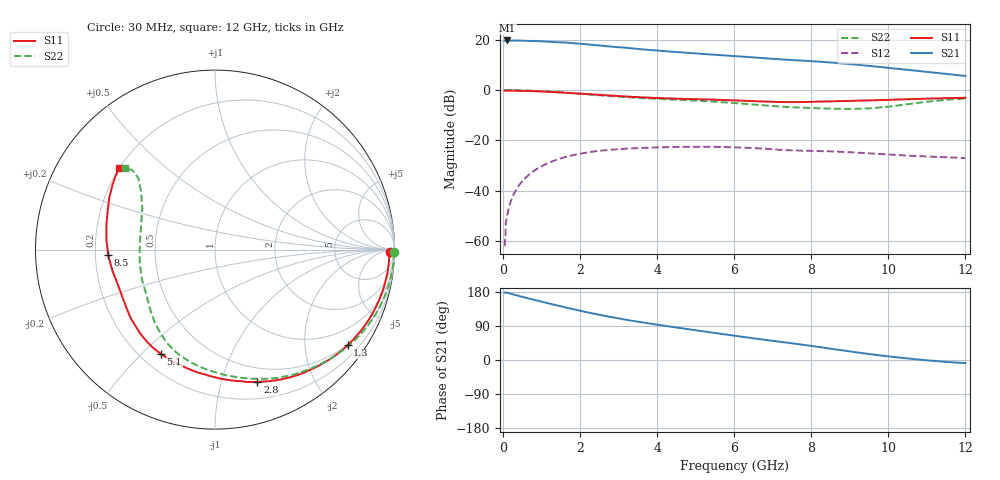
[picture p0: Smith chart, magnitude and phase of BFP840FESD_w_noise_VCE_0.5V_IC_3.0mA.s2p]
! Infineon Technologies  Discrete & RF Semiconductors
! BFP840FESD
! VCE =  0.5 V,  IC =  3.0 mA
! Common Emitter S-Parameters:  May 2012
# GHz  S  MA  R  50
!  f  S11  S21  S12  S22
! GHz  MAG  ANG  MAG  ANG  MAG  ANG  MAG  ANG
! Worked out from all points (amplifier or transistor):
!   103 points, 30 MHz to 12 GHz, reference 50 ohm
!   highest |S21| = 19.6 dB at 100 MHz (marker M1)
!   |S21| within 3 dB of that: start of sweep to 3.25 GHz
!   unconditionally stable (mu >= 1): 7.894 GHz to end of sweep
!   at 400 MHz: K = 0.02, MSG = 28.7 dB, |S12| = -37.9 dB
!   at 3.7 GHz: K = 0.28, MSG = 19.5 dB, |S12| = -22.9 dB
!   at 12 GHz: K = 1.51, MAG = 12.1 dB, |S12| = -27.0 dB
!   lowest NFmin = 0.51 dB at 450 MHz
!   S11 on the Smith chart (normalised r, x): 30 MHz: 54, -30; 1.3 GHz: 0.49, -3.03; 2.8 GHz: 0.36, -1.31; 5.1 GHz: 0.28, -0.57; 8.5 GHz: 0.25, -0.03; 12 GHz: 0.20, +0.35
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0.03  0.9724 -0.9  9.49 177.6  0.0008 105.8  0.9957 -0.8
0.04  0.9727 -1.2  9.499 177.4  0.001 79.3  0.9965 -1.1
0.05  0.971 -1.4  9.544 178.6  0.0012 81.7  0.9975 -1.3
0.06  0.9726 -1.7  9.538 178.4  0.0024 83.0  0.9973 -1.5
0.1  0.9718 -2.9  9.605 177.4  0.0034 85.3  0.9963 -2.7
0.2  0.9704 -5.6  9.547 174.6  0.0065 84.5  0.9954 -5.4
0.4  0.9651 -11.3  9.554 169.2  0.0128 81.3  0.9891 -10.9
0.8  0.9465 -22.3  9.393 158.8  0.0252 72.7  0.9654 -21.8
1.3  0.9105 -35.8  8.951 146.3  0.0393 61.9  0.9194 -35.2
1.7  0.8728 -46.5  8.64 136.4  0.0488 53.3  0.8738 -45.9
2.1  0.8379 -56.4  8.131 127.5  0.0564 45.3  0.8291 -56.2
2.5  0.8008 -65.6  7.618 119.1  0.0623 38.3  0.787 -65.6
2.8  0.7744 -72.2  7.262 113.3  0.0654 33.5  0.7555 -72.2
3.4  0.7281 -84.8  6.622 102.6  0.0699 25.3  0.7066 -84.1
4.1  0.69 -98.4  5.971 91.7  0.073 17.4  0.6631 -95.9
5.1  0.6546 -117.3  5.245 77.0  0.0747 7.5  0.61 -111.1
6.1  0.6173 -134.9  4.659 62.7  0.0726 -1.6  0.5445 -125.6
7.2  0.578 -154.2  4.058 47.8  0.065 -8.1  0.4688 -143.0
8.5  0.5956 -176.9  3.511 29.8  0.0607 -10.5  0.4266 -169.6
9.5  0.6219 166.5  3.01 15.8  0.0555 -12.9  0.431 163.0
10.5  0.6567 153.7  2.512 4.1  0.05 -11.3  0.5239 141.8
12  0.7003 139.7  1.896 -8.3  0.0447 -4.0  0.6769 138.0
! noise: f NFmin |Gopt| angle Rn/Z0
0.45  0.51  0.62  7  0.22
0.9  0.57  0.59  13  0.22
1.5  0.62  0.54  20  0.21
1.9  0.64  0.5  28  0.21
2.4  0.67  0.47  35  0.22
3.5  0.69  0.45  54  0.2
5.5  0.79  0.34  90  0.15
8  1.02  0.29  149  0.12
10  1.24  0.31  -165  0.11
12  1.41  0.48  -132  0.14
